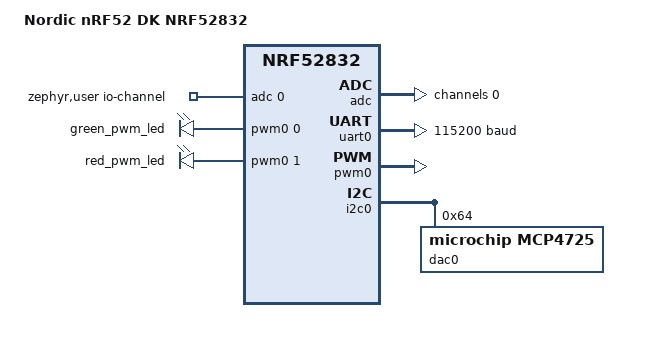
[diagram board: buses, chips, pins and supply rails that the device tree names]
/*
 * Copyright (c) 2017 Shawn Nock <shawn@monadnock.ca>
 * Copyright (c) 2017 Linaro Limited
 *
 * SPDX-License-Identifier: Apache-2.0
 */

/dts-v1/;
#include <nordic/nrf52832_qfaa.dtsi>
#include "nrf52832_hello.dtsi"

/ {
	model = "Nordic nRF52 DK NRF52832";
	compatible = "nordic,nrf52-dk-nrf52832";

	chosen {
		zephyr,console = &uart0;
		zephyr,shell-uart = &uart0;
		zephyr,uart-mcumgr = &uart0;
		zephyr,bt-mon-uart = &uart0;
		zephyr,bt-c2h-uart = &uart0;
		zephyr,sram = &sram0;
		zephyr,flash = &flash0;
		zephyr,code-partition = &slot0_partition;
	};

	zephyr,user {
		dac = <&dac0>;
		dac-channel-id = <0>;
		dac-resolution = <12>;

		io-channels = <&adc 0>;
	};

	pwmleds: pwmleds {
		compatible = "pwm-leds";
		status = "okay";

		green_pwm_led: green_pwm_led {
			pwms = <&pwm0 0 PWM_MSEC(20) PWM_POLARITY_NORMAL>;
		};

		red_pwm_led: red_pwm_led {
			pwms = <&pwm0 1 PWM_MSEC(20) PWM_POLARITY_NORMAL>;
		};
	};


	/* These aliases are provided for compatibility with samples */
	aliases {
		pledg = &green_pwm_led;
		pledr = &red_pwm_led;
		watchdog0 = &wdt0;
	};
};

&adc {
	status = "okay";
	#address-cells = <1>;
	#size-cells = <0>;

	channel@0 {
		// when battery is not connected the jitter on the channel is quite high
		reg = <0>;
		zephyr,gain = "ADC_GAIN_1_6"; // nordic iref = 0.6v, i.e 4095 == 3.6v
		zephyr,reference = "ADC_REF_INTERNAL";
		zephyr,acquisition-time = <ADC_ACQ_TIME(ADC_ACQ_TIME_MICROSECONDS, 40)>; // slowest supported
		zephyr,input-positive = <NRF_SAADC_AIN0>; /* P0.02 */
		zephyr,oversampling = <4>; // average over 16 samples
		zephyr,resolution = <12>;
	};
};

&gpiote {
	status = "okay";
};

&gpio0 {
	status = "okay";
};

arduino_serial: &uart0 {
	status = "okay";
	compatible = "nordic,nrf-uarte";
	current-speed = <115200>;
	pinctrl-0 = <&uart0_default>;
	pinctrl-1 = <&uart0_sleep>;
	pinctrl-names = "default", "sleep";
};

&pwm0 {
	status = "okay";
	pinctrl-0 = <&pwm0_default>;
	pinctrl-1 = <&pwm0_sleep>;
	pinctrl-names = "default", "sleep";
};

&i2c0 {
	compatible = "nordic,nrf-twim";
	status = "okay";
	pinctrl-0 = <&i2c0_default>;
	pinctrl-1 = <&i2c0_sleep>;
	pinctrl-names = "default", "sleep";
	dac0: mcp4725@64 {
		// MCP4725A2T-E-CH
		// addr = 1100 10 0
		compatible = "microchip,mcp4725";
		status = "okay";
		reg = <0x64>;
		#io-channel-cells = <1>;
	};
};

&flash0 {

	partitions {
		compatible = "fixed-partitions";
		#address-cells = <1>;
		#size-cells = <1>;

		boot_partition: partition@0 {
			label = "mcuboot";
			reg = <0x00000000 0xc000>;
		};
		slot0_partition: partition@c000 {
			label = "image-0";
			reg = <0x0000C000 0x37000>;
		};
		slot1_partition: partition@43000 {
			label = "image-1";
			reg = <0x00043000 0x37000>;
		};
		storage_partition: partition@7a000 {
			label = "storage";
			reg = <0x0007a000 0x00006000>;
		};
	};
};
